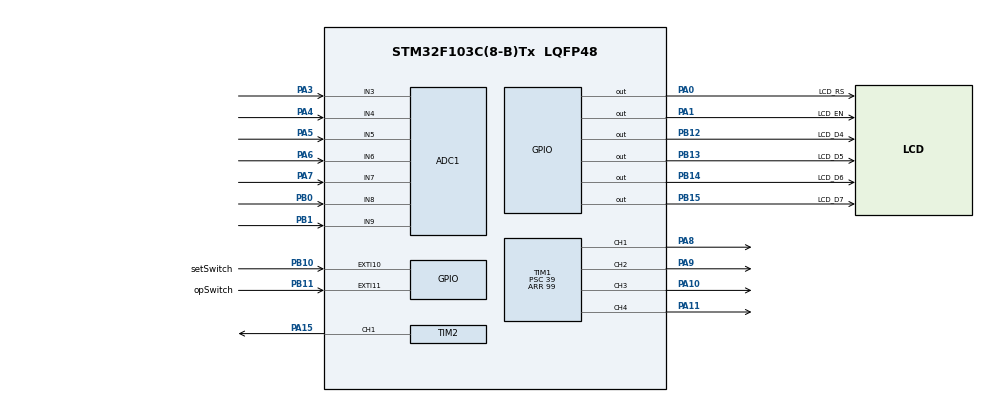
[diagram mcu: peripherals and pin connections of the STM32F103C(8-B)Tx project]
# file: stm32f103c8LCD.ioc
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ADC1.Channel-0\#ChannelRegularConversion=ADC_CHANNEL_3
ADC1.Channel-1\#ChannelRegularConversion=ADC_CHANNEL_4
ADC1.Channel-2\#ChannelRegularConversion=ADC_CHANNEL_5
ADC1.Channel-3\#ChannelRegularConversion=ADC_CHANNEL_6
ADC1.Channel-4\#ChannelRegularConversion=ADC_CHANNEL_7
ADC1.Channel-5\#ChannelRegularConversion=ADC_CHANNEL_8
ADC1.Channel-6\#ChannelRegularConversion=ADC_CHANNEL_9
ADC1.ContinuousConvMode=ENABLE
ADC1.NbrOfConversion=7
ADC1.NbrOfConversionFlag=1
ADC1.Rank-0\#ChannelRegularConversion=1
ADC1.Rank-1\#ChannelRegularConversion=2
ADC1.Rank-2\#ChannelRegularConversion=3
ADC1.Rank-3\#ChannelRegularConversion=4
ADC1.Rank-4\#ChannelRegularConversion=5
ADC1.Rank-5\#ChannelRegularConversion=6
ADC1.Rank-6\#ChannelRegularConversion=7
ADC1.SamplingTime-0\#ChannelRegularConversion=ADC_SAMPLETIME_55CYCLES_5
ADC1.SamplingTime-1\#ChannelRegularConversion=ADC_SAMPLETIME_55CYCLES_5
ADC1.SamplingTime-2\#ChannelRegularConversion=ADC_SAMPLETIME_55CYCLES_5
ADC1.SamplingTime-3\#ChannelRegularConversion=ADC_SAMPLETIME_55CYCLES_5
ADC1.SamplingTime-4\#ChannelRegularConversion=ADC_SAMPLETIME_55CYCLES_5
ADC1.SamplingTime-5\#ChannelRegularConversion=ADC_SAMPLETIME_55CYCLES_5
ADC1.SamplingTime-6\#ChannelRegularConversion=ADC_SAMPLETIME_55CYCLES_5
ADC1.master=1
Dma.ADC1.0.Direction=DMA_PERIPH_TO_MEMORY
Dma.ADC1.0.Instance=DMA1_Channel1
Dma.ADC1.0.MemDataAlignment=DMA_MDATAALIGN_WORD
Dma.ADC1.0.MemInc=DMA_MINC_ENABLE
Dma.ADC1.0.Mode=DMA_CIRCULAR
Dma.ADC1.0.PeriphDataAlignment=DMA_PDATAALIGN_WORD
Dma.ADC1.0.PeriphInc=DMA_PINC_DISABLE
Dma.ADC1.0.Priority=DMA_PRIORITY_MEDIUM
Dma.Request0=ADC1
Mcu.Family=STM32F1
Mcu.Name=STM32F103C(8-B)Tx
Mcu.Package=LQFP48
NVIC.DMA1_Channel1_IRQn=true\:0\:0\:false\:false\:true\:false\:true
NVIC.EXTI15_10_IRQn=true\:0\:0\:false\:false\:true\:true\:true
NVIC.PriorityGroup=NVIC_PRIORITYGROUP_4
PA0-WKUP.GPIO_Label=LCD_RS
PA0-WKUP.Signal=GPIO_Output
PA1.GPIO_Label=LCD_EN
PA1.Signal=GPIO_Output
PA10.Signal=S_TIM1_CH3
PA11.Signal=S_TIM1_CH4
PA15.Signal=S_TIM2_CH1_ETR
PA3.Signal=ADCx_IN3
PA4.Signal=ADCx_IN4
PA5.Signal=ADCx_IN5
PA6.Signal=ADCx_IN6
PA7.Signal=ADCx_IN7
PA8.Signal=S_TIM1_CH1
PA9.Signal=S_TIM1_CH2
PB0.Signal=ADCx_IN8
PB1.Signal=ADCx_IN9
PB10.GPIO_Label=setSwitch
PB10.GPIO_PuPd=GPIO_NOPULL
PB10.Signal=GPXTI10
PB11.GPIO_Label=opSwitch
PB11.GPIO_PuPd=GPIO_NOPULL
PB11.Signal=GPXTI11
PB12.GPIO_Label=LCD_D4
PB12.Signal=GPIO_Output
PB13.GPIO_Label=LCD_D5
PB13.Signal=GPIO_Output
PB14.GPIO_Label=LCD_D6
PB14.Signal=GPIO_Output
PB15.GPIO_Label=LCD_D7
PB15.Signal=GPIO_Output
PD0-OSC_IN.Mode=HSE-External-Oscillator
PD0-OSC_IN.Signal=RCC_OSC_IN
PD1-OSC_OUT.Mode=HSE-External-Oscillator
PD1-OSC_OUT.Signal=RCC_OSC_OUT
ProjectManager.HeapSize=0x200
ProjectManager.StackSize=0x400
ProjectManager.TargetToolchain=MDK-ARM V5.27
RCC.APB1Freq_Value=8000000
RCC.APB2Freq_Value=8000000
SH.ADCx_IN3.0=ADC1_IN3,IN3
SH.ADCx_IN4.0=ADC1_IN4,IN4
SH.ADCx_IN5.0=ADC1_IN5,IN5
SH.ADCx_IN6.0=ADC1_IN6,IN6
SH.ADCx_IN7.0=ADC1_IN7,IN7
SH.ADCx_IN8.0=ADC1_IN8,IN8
SH.ADCx_IN9.0=ADC1_IN9,IN9
SH.S_TIM1_CH1.0=TIM1_CH1,PWM Generation1 CH1
SH.S_TIM1_CH2.0=TIM1_CH2,PWM Generation2 CH2
SH.S_TIM1_CH3.0=TIM1_CH3,PWM Generation3 CH3
SH.S_TIM1_CH4.0=TIM1_CH4,PWM Generation4 CH4
SH.S_TIM2_CH1_ETR.0=TIM2_CH1,PWM Generation1 CH1
TIM1.Channel-PWM\ Generation1\ CH1=TIM_CHANNEL_1
TIM1.Channel-PWM\ Generation2\ CH2=TIM_CHANNEL_2
TIM1.Channel-PWM\ Generation3\ CH3=TIM_CHANNEL_3
TIM1.Channel-PWM\ Generation4\ CH4=TIM_CHANNEL_4
TIM1.Period=99
TIM1.Prescaler=39
TIM2.Channel-PWM\ Generation1\ CH1=TIM_CHANNEL_1
TIM2.Period=99
TIM2.Prescaler=39
VP_SYS_VS_ND.Mode=No_Debug
VP_TIM1_VS_ClockSourceINT.Mode=Internal
VP_TIM2_VS_ClockSourceINT.Mode=Internal
board=custom

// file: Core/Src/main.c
/* USER CODE BEGIN Header */
/**
  ******************************************************************************
  * @file           : main.c
  * @brief          : Main program body
  ******************************************************************************
  * @attention
  *
  * <h2><center>&copy; Copyright (c) 2021 STMicroelectronics.
  * All rights reserved.</center></h2>
  *
  * This software component is licensed by ST under BSD 3-Clause license,
  * the "License"; You may not use this file except in compliance with the
  * License. You may obtain a copy of the License at:
  *                        opensource.org/licenses/BSD-3-Clause
  *
  ******************************************************************************
  */
/* USER CODE END Header */
#include "main.h"

/* USER CODE BEGIN Includes */
#include "LCD.h"
#include <stdio.h>
#include <stdbool.h>
/* USER CODE END Includes */

ADC_HandleTypeDef hadc1;
DMA_HandleTypeDef hdma_adc1;

TIM_HandleTypeDef htim1;
TIM_HandleTypeDef htim2;

/* USER CODE BEGIN PV */
uint32_t adcBuf[7];
uint32_t data[7];
bool conSpeedSwitchVal = 0;
bool opSpeedSwitchVal = 0;
int pwm,pwmHeater = 0;
int pwmMotor1,pwmMotor2,pwmMotor3,pwmMotor4  = 0;

/* USER CODE END PV */

void SystemClock_Config(void);
static void MX_GPIO_Init(void);
static void MX_DMA_Init(void);
static void MX_ADC1_Init(void);
static void MX_TIM1_Init(void);
static void MX_TIM2_Init(void);
/* USER CODE BEGIN PFP */
void HAL_ADC_ConvHalfCpltCallback(ADC_HandleTypeDef* hadc)
	{
		if(hadc->Instance == ADC1)
			{
				data[0] = adcBuf[0];
				data[1] = adcBuf[1];
				data[2] = adcBuf[2];
				data[3] = adcBuf[3];
				data[4] = adcBuf[4];
				data[5] = adcBuf[5];
				data[6] = adcBuf[6];
		}
}

void setSpeedSwitchVal(bool switchVal)
	{
if(switchVal==0)
	{
	conSpeedSwitchVal  = 0;
}else{
	conSpeedSwitchVal  = 1;
}

}

void operateSpeedSwitchVal(bool switchVal)
	{
if(switchVal==0)
	{
	opSpeedSwitchVal = 0;
}else{
	opSpeedSwitchVal = 1;
}

}

/* USER CODE END PFP */

int main(void)
{

  /* MCU Configuration--------------------------------------------------------*/

  /* Reset of all peripherals, Initializes the Flash interface and the Systick. */
  HAL_Init();

  /* Configure the system clock */
  SystemClock_Config();

  /* Initialize all configured peripherals */
  MX_GPIO_Init();
  MX_DMA_Init();
  MX_ADC1_Init();
  MX_TIM1_Init();
  MX_TIM2_Init();
  /* USER CODE BEGIN 2 */
	HAL_TIM_PWM_Start(&htim1,TIM_CHANNEL_1);
	HAL_TIM_PWM_Start(&htim1,TIM_CHANNEL_2);
	HAL_TIM_PWM_Start(&htim1,TIM_CHANNEL_3);
	HAL_TIM_PWM_Start(&htim1,TIM_CHANNEL_4);

	HAL_TIM_PWM_Start(&htim2,TIM_CHANNEL_1);

	lcd_init(_LCD_4BIT, _LCD_FONT_5x8, _LCD_2LINE);
	int i=0;
	char yazi1[32]= "  ";
	char yazi2[32]= "  ";
	char yazi3[32]= "  ";
	lcd_print(1,1,"filament");
	lcd_print(2,1,"geri donusum");
	HAL_Delay(500);
	lcd_clear();

	HAL_ADC_Start_DMA(&hadc1,adcBuf,3);

	lcd_print(1,1,"filament");
	lcd_print(2,1,"geri donusum");
	HAL_Delay(500);
	lcd_clear();

  /* USER CODE END 2 */

  /* Infinite loop */
  while (1)
  {

    /* USER CODE BEGIN 3 */

			// data[0] = tum Motorlara Pwm
			// data[1] = motor1Pwm
			// data[2] = motor2Pwm
			// data[3] = motor3Pwm
			// data[4] = motor4Pwm
		  // data[5] = Sicaklik pwm
		  // data[6] = Sicaklik Olcer
		if(conSpeedSwitchVal){

			if(opSpeedSwitchVal == 1)
		{
			sprintf(yazi1,"adc AllMotors = %d",data[0]);
			sprintf(yazi2,"adc heater = %d",data[5]);
			sprintf(yazi3,"heater = %d",data[6]);

			lcd_print(1,1,yazi1);
			lcd_print(2,1,yazi2);
		  lcd_print(1,2,yazi3);

			__HAL_TIM_SET_COMPARE(&htim1,TIM_CHANNEL_1,pwm);
			__HAL_TIM_SET_COMPARE(&htim1,TIM_CHANNEL_2,pwm);
			__HAL_TIM_SET_COMPARE(&htim1,TIM_CHANNEL_3,pwm);
			__HAL_TIM_SET_COMPARE(&htim1,TIM_CHANNEL_4,pwm);

			__HAL_TIM_SET_COMPARE(&htim2,TIM_CHANNEL_1,pwmHeater);
			HAL_Delay(10);

			lcd_clear();

			// if all switch pressed save the potentiometer value and apply the pwm signal to the all motors.
			// if save switch pressed apply the all constant values to the all motors.
		}else{
			sprintf(yazi1,"adc AllMotors = %d",data[0]);
			sprintf(yazi2,"adc heater = %d",data[5]);
			sprintf(yazi3,"heater = %d",data[6]);

			lcd_print(1,1,yazi1);
			lcd_print(2,1,yazi2);
		  lcd_print(1,2,yazi3);

			__HAL_TIM_SET_COMPARE(&htim1,TIM_CHANNEL_1,pwmMotor1);
			__HAL_TIM_SET_COMPARE(&htim1,TIM_CHANNEL_2,pwmMotor2);
			__HAL_TIM_SET_COMPARE(&htim1,TIM_CHANNEL_3,pwmMotor3);
			__HAL_TIM_SET_COMPARE(&htim1,TIM_CHANNEL_4,pwmMotor4);

			__HAL_TIM_SET_COMPARE(&htim2,TIM_CHANNEL_1,pwmHeater);
			HAL_Delay(10);

			lcd_clear();
		}

		}else{

			operateSpeedSwitchVal(HAL_GPIO_ReadPin(GPIOA,opSwitch_Pin));
		if(opSpeedSwitchVal == 1)
		{
		  HAL_ADC_ConvHalfCpltCallback(&hadc1);
		  i++;
			pwm = (data[0]*100)/4024;
		  pwmHeater = (data[5]*100)/4024;
			sprintf(yazi1,"adc AllMotors = %d",data[0]);
			sprintf(yazi2,"adc heater = %d",data[5]);
			sprintf(yazi3,"heater = %d",data[6]);

			lcd_print(1,1,yazi1);
			lcd_print(2,1,yazi2);
		  lcd_print(1,2,yazi3);

			__HAL_TIM_SET_COMPARE(&htim1,TIM_CHANNEL_1,pwm);
			__HAL_TIM_SET_COMPARE(&htim1,TIM_CHANNEL_2,pwm);
			__HAL_TIM_SET_COMPARE(&htim1,TIM_CHANNEL_3,pwm);
			__HAL_TIM_SET_COMPARE(&htim1,TIM_CHANNEL_4,pwm);

			__HAL_TIM_SET_COMPARE(&htim2,TIM_CHANNEL_1,pwmHeater);
			HAL_Delay(10);

			lcd_clear();

			// if all switch pressed save the potentiometer value and apply the pwm signal to the all motors.
			// if save switch pressed apply the all constant values to the all motors.
		}else{
					  HAL_ADC_ConvHalfCpltCallback(&hadc1);
		  i++;
			pwmMotor1 = (data[1]*100)/4024;
			pwmMotor2 = (data[2]*100)/4024;
			pwmMotor3 = (data[3]*100)/4024;
			pwmMotor4 = (data[4]*100)/4024;

		  pwmHeater = (data[5]*100)/4024;
			sprintf(yazi1,"adc AllMotors = %d",data[0]);
			sprintf(yazi2,"adc heater = %d",data[5]);
			sprintf(yazi3,"heater = %d",data[6]);

			lcd_print(1,1,yazi1);
			lcd_print(2,1,yazi2);
		  lcd_print(1,2,yazi3);

			__HAL_TIM_SET_COMPARE(&htim1,TIM_CHANNEL_1,pwmMotor1);
			__HAL_TIM_SET_COMPARE(&htim1,TIM_CHANNEL_2,pwmMotor2);
			__HAL_TIM_SET_COMPARE(&htim1,TIM_CHANNEL_3,pwmMotor3);
			__HAL_TIM_SET_COMPARE(&htim1,TIM_CHANNEL_4,pwmMotor4);

			__HAL_TIM_SET_COMPARE(&htim2,TIM_CHANNEL_1,pwmHeater);
			HAL_Delay(10);

			lcd_clear();
		}

  }
	}
  /* USER CODE END 3 */
}

void SystemClock_Config(void)
{
  RCC_OscInitTypeDef RCC_OscInitStruct = {0};
  RCC_ClkInitTypeDef RCC_ClkInitStruct = {0};
  RCC_PeriphCLKInitTypeDef PeriphClkInit = {0};

  /** Initializes the RCC Oscillators according to the specified parameters
  * in the RCC_OscInitTypeDef structure.
  */
  RCC_OscInitStruct.OscillatorType = RCC_OSCILLATORTYPE_HSI;
  RCC_OscInitStruct.HSIState = RCC_HSI_ON;
  RCC_OscInitStruct.HSICalibrationValue = RCC_HSICALIBRATION_DEFAULT;
  RCC_OscInitStruct.PLL.PLLState = RCC_PLL_NONE;
  if (HAL_RCC_OscConfig(&RCC_OscInitStruct) != HAL_OK)
  {
    Error_Handler();
  }
  /** Initializes the CPU, AHB and APB buses clocks
  */
  RCC_ClkInitStruct.ClockType = RCC_CLOCKTYPE_HCLK|RCC_CLOCKTYPE_SYSCLK
                              |RCC_CLOCKTYPE_PCLK1|RCC_CLOCKTYPE_PCLK2;
  RCC_ClkInitStruct.SYSCLKSource = RCC_SYSCLKSOURCE_HSI;
  RCC_ClkInitStruct.AHBCLKDivider = RCC_SYSCLK_DIV1;
  RCC_ClkInitStruct.APB1CLKDivider = RCC_HCLK_DIV1;
  RCC_ClkInitStruct.APB2CLKDivider = RCC_HCLK_DIV1;

  if (HAL_RCC_ClockConfig(&RCC_ClkInitStruct, FLASH_LATENCY_0) != HAL_OK)
  {
    Error_Handler();
  }
  PeriphClkInit.PeriphClockSelection = RCC_PERIPHCLK_ADC;
  PeriphClkInit.AdcClockSelection = RCC_ADCPCLK2_DIV2;
  if (HAL_RCCEx_PeriphCLKConfig(&PeriphClkInit) != HAL_OK)
  {
    Error_Handler();
  }
}

static void MX_ADC1_Init(void)
{

  ADC_ChannelConfTypeDef sConfig = {0};

  /** Common config
  */
  hadc1.Instance = ADC1;
  hadc1.Init.ScanConvMode = ADC_SCAN_ENABLE;
  hadc1.Init.ContinuousConvMode = ENABLE;
  hadc1.Init.DiscontinuousConvMode = DISABLE;
  hadc1.Init.ExternalTrigConv = ADC_SOFTWARE_START;
  hadc1.Init.DataAlign = ADC_DATAALIGN_RIGHT;
  hadc1.Init.NbrOfConversion = 7;
  if (HAL_ADC_Init(&hadc1) != HAL_OK)
  {
    Error_Handler();
  }
  /** Configure Regular Channel
  */
  sConfig.Channel = ADC_CHANNEL_3;
  sConfig.Rank = ADC_REGULAR_RANK_1;
  sConfig.SamplingTime = ADC_SAMPLETIME_55CYCLES_5;
  if (HAL_ADC_ConfigChannel(&hadc1, &sConfig) != HAL_OK)
  {
    Error_Handler();
  }
  /** Configure Regular Channel
  */
  sConfig.Channel = ADC_CHANNEL_4;
  sConfig.Rank = ADC_REGULAR_RANK_2;
  if (HAL_ADC_ConfigChannel(&hadc1, &sConfig) != HAL_OK)
  {
    Error_Handler();
  }
  /** Configure Regular Channel
  */
  sConfig.Channel = ADC_CHANNEL_5;
  sConfig.Rank = ADC_REGULAR_RANK_3;
  if (HAL_ADC_ConfigChannel(&hadc1, &sConfig) != HAL_OK)
  {
    Error_Handler();
  }
  /** Configure Regular Channel
  */
  sConfig.Channel = ADC_CHANNEL_6;
  sConfig.Rank = ADC_REGULAR_RANK_4;
  if (HAL_ADC_ConfigChannel(&hadc1, &sConfig) != HAL_OK)
  {
    Error_Handler();
  }
  /** Configure Regular Channel
  */
  sConfig.Channel = ADC_CHANNEL_7;
  sConfig.Rank = ADC_REGULAR_RANK_5;
  if (HAL_ADC_ConfigChannel(&hadc1, &sConfig) != HAL_OK)
  {
    Error_Handler();
  }
  /** Configure Regular Channel
  */
  sConfig.Channel = ADC_CHANNEL_8;
  sConfig.Rank = ADC_REGULAR_RANK_6;
  if (HAL_ADC_ConfigChannel(&hadc1, &sConfig) != HAL_OK)
  {
    Error_Handler();
  }
  /** Configure Regular Channel
  */
  sConfig.Channel = ADC_CHANNEL_9;
  sConfig.Rank = ADC_REGULAR_RANK_7;
  if (HAL_ADC_ConfigChannel(&hadc1, &sConfig) != HAL_OK)
  {
    Error_Handler();
  }

}

static void MX_TIM1_Init(void)
{

  TIM_ClockConfigTypeDef sClockSourceConfig = {0};
  TIM_MasterConfigTypeDef sMasterConfig = {0};
  TIM_OC_InitTypeDef sConfigOC = {0};
  TIM_BreakDeadTimeConfigTypeDef sBreakDeadTimeConfig = {0};

  htim1.Instance = TIM1;
  htim1.Init.Prescaler = 39;
  htim1.Init.CounterMode = TIM_COUNTERMODE_UP;
  htim1.Init.Period = 99;
  htim1.Init.ClockDivision = TIM_CLOCKDIVISION_DIV1;
  htim1.Init.RepetitionCounter = 0;
  htim1.Init.AutoReloadPreload = TIM_AUTORELOAD_PRELOAD_DISABLE;
  if (HAL_TIM_Base_Init(&htim1) != HAL_OK)
  {
    Error_Handler();
  }
  sClockSourceConfig.ClockSource = TIM_CLOCKSOURCE_INTERNAL;
  if (HAL_TIM_ConfigClockSource(&htim1, &sClockSourceConfig) != HAL_OK)
  {
    Error_Handler();
  }
  if (HAL_TIM_PWM_Init(&htim1) != HAL_OK)
  {
    Error_Handler();
  }
  sMasterConfig.MasterOutputTrigger = TIM_TRGO_RESET;
  sMasterConfig.MasterSlaveMode = TIM_MASTERSLAVEMODE_DISABLE;
  if (HAL_TIMEx_MasterConfigSynchronization(&htim1, &sMasterConfig) != HAL_OK)
  {
    Error_Handler();
  }
  sConfigOC.OCMode = TIM_OCMODE_PWM1;
  sConfigOC.Pulse = 0;
  sConfigOC.OCPolarity = TIM_OCPOLARITY_HIGH;
  sConfigOC.OCNPolarity = TIM_OCNPOLARITY_HIGH;
  sConfigOC.OCFastMode = TIM_OCFAST_DISABLE;
  sConfigOC.OCIdleState = TIM_OCIDLESTATE_RESET;
  sConfigOC.OCNIdleState = TIM_OCNIDLESTATE_RESET;
  if (HAL_TIM_PWM_ConfigChannel(&htim1, &sConfigOC, TIM_CHANNEL_1) != HAL_OK)
  {
    Error_Handler();
  }
  if (HAL_TIM_PWM_ConfigChannel(&htim1, &sConfigOC, TIM_CHANNEL_2) != HAL_OK)
  {
    Error_Handler();
  }
  if (HAL_TIM_PWM_ConfigChannel(&htim1, &sConfigOC, TIM_CHANNEL_3) != HAL_OK)
  {
    Error_Handler();
  }
  if (HAL_TIM_PWM_ConfigChannel(&htim1, &sConfigOC, TIM_CHANNEL_4) != HAL_OK)
  {
    Error_Handler();
  }
  sBreakDeadTimeConfig.OffStateRunMode = TIM_OSSR_DISABLE;
  sBreakDeadTimeConfig.OffStateIDLEMode = TIM_OSSI_DISABLE;
  sBreakDeadTimeConfig.LockLevel = TIM_LOCKLEVEL_OFF;
  sBreakDeadTimeConfig.DeadTime = 0;
  sBreakDeadTimeConfig.BreakState = TIM_BREAK_DISABLE;
  sBreakDeadTimeConfig.BreakPolarity = TIM_BREAKPOLARITY_HIGH;
  sBreakDeadTimeConfig.AutomaticOutput = TIM_AUTOMATICOUTPUT_DISABLE;
  if (HAL_TIMEx_ConfigBreakDeadTime(&htim1, &sBreakDeadTimeConfig) != HAL_OK)
  {
    Error_Handler();
  }
  HAL_TIM_MspPostInit(&htim1);

}

static void MX_TIM2_Init(void)
{

  TIM_ClockConfigTypeDef sClockSourceConfig = {0};
  TIM_MasterConfigTypeDef sMasterConfig = {0};
  TIM_OC_InitTypeDef sConfigOC = {0};

  htim2.Instance = TIM2;
  htim2.Init.Prescaler = 39;
  htim2.Init.CounterMode = TIM_COUNTERMODE_UP;
  htim2.Init.Period = 99;
  htim2.Init.ClockDivision = TIM_CLOCKDIVISION_DIV1;
  htim2.Init.AutoReloadPreload = TIM_AUTORELOAD_PRELOAD_DISABLE;
  if (HAL_TIM_Base_Init(&htim2) != HAL_OK)
  {
    Error_Handler();
  }
  sClockSourceConfig.ClockSource = TIM_CLOCKSOURCE_INTERNAL;
  if (HAL_TIM_ConfigClockSource(&htim2, &sClockSourceConfig) != HAL_OK)
  {
    Error_Handler();
  }
  if (HAL_TIM_PWM_Init(&htim2) != HAL_OK)
  {
    Error_Handler();
  }
  sMasterConfig.MasterOutputTrigger = TIM_TRGO_RESET;
  sMasterConfig.MasterSlaveMode = TIM_MASTERSLAVEMODE_DISABLE;
  if (HAL_TIMEx_MasterConfigSynchronization(&htim2, &sMasterConfig) != HAL_OK)
  {
    Error_Handler();
  }
  sConfigOC.OCMode = TIM_OCMODE_PWM1;
  sConfigOC.Pulse = 0;
  sConfigOC.OCPolarity = TIM_OCPOLARITY_HIGH;
  sConfigOC.OCFastMode = TIM_OCFAST_DISABLE;
  if (HAL_TIM_PWM_ConfigChannel(&htim2, &sConfigOC, TIM_CHANNEL_1) != HAL_OK)
  {
    Error_Handler();
  }
  HAL_TIM_MspPostInit(&htim2);

}

static void MX_DMA_Init(void)
{

  /* DMA controller clock enable */
  __HAL_RCC_DMA1_CLK_ENABLE();

  /* DMA interrupt init */
  /* DMA1_Channel1_IRQn interrupt configuration */
  HAL_NVIC_SetPriority(DMA1_Channel1_IRQn, 0, 0);
  HAL_NVIC_EnableIRQ(DMA1_Channel1_IRQn);

}

static void MX_GPIO_Init(void)
{
  GPIO_InitTypeDef GPIO_InitStruct = {0};

  /* GPIO Ports Clock Enable */
  __HAL_RCC_GPIOD_CLK_ENABLE();
  __HAL_RCC_GPIOA_CLK_ENABLE();
  __HAL_RCC_GPIOB_CLK_ENABLE();

  /*Configure GPIO pin Output Level */
  HAL_GPIO_WritePin(GPIOA, LCD_RS_Pin|LCD_EN_Pin, GPIO_PIN_RESET);

  /*Configure GPIO pin Output Level */
  HAL_GPIO_WritePin(GPIOB, LCD_D4_Pin|LCD_D5_Pin|LCD_D6_Pin|LCD_D7_Pin, GPIO_PIN_RESET);

  /*Configure GPIO pins : LCD_RS_Pin LCD_EN_Pin */
  GPIO_InitStruct.Pin = LCD_RS_Pin|LCD_EN_Pin;
  GPIO_InitStruct.Mode = GPIO_MODE_OUTPUT_PP;
  GPIO_InitStruct.Pull = GPIO_NOPULL;
  GPIO_InitStruct.Speed = GPIO_SPEED_FREQ_LOW;
  HAL_GPIO_Init(GPIOA, &GPIO_InitStruct);

  /*Configure GPIO pins : setSwitch_Pin opSwitch_Pin */
  GPIO_InitStruct.Pin = setSwitch_Pin|opSwitch_Pin;
  GPIO_InitStruct.Mode = GPIO_MODE_IT_RISING;
  GPIO_InitStruct.Pull = GPIO_NOPULL;
  HAL_GPIO_Init(GPIOB, &GPIO_InitStruct);

  /*Configure GPIO pins : LCD_D4_Pin LCD_D5_Pin LCD_D6_Pin LCD_D7_Pin */
  GPIO_InitStruct.Pin = LCD_D4_Pin|LCD_D5_Pin|LCD_D6_Pin|LCD_D7_Pin;
  GPIO_InitStruct.Mode = GPIO_MODE_OUTPUT_PP;
  GPIO_InitStruct.Pull = GPIO_NOPULL;
  GPIO_InitStruct.Speed = GPIO_SPEED_FREQ_LOW;
  HAL_GPIO_Init(GPIOB, &GPIO_InitStruct);

  /* EXTI interrupt init*/
  HAL_NVIC_SetPriority(EXTI15_10_IRQn, 0, 0);
  HAL_NVIC_EnableIRQ(EXTI15_10_IRQn);

}

void Error_Handler(void)
{
  __disable_irq();
  while (1)
  {
  }
}

/************************ (C) COPYRIGHT STMicroelectronics *****END OF FILE****/
